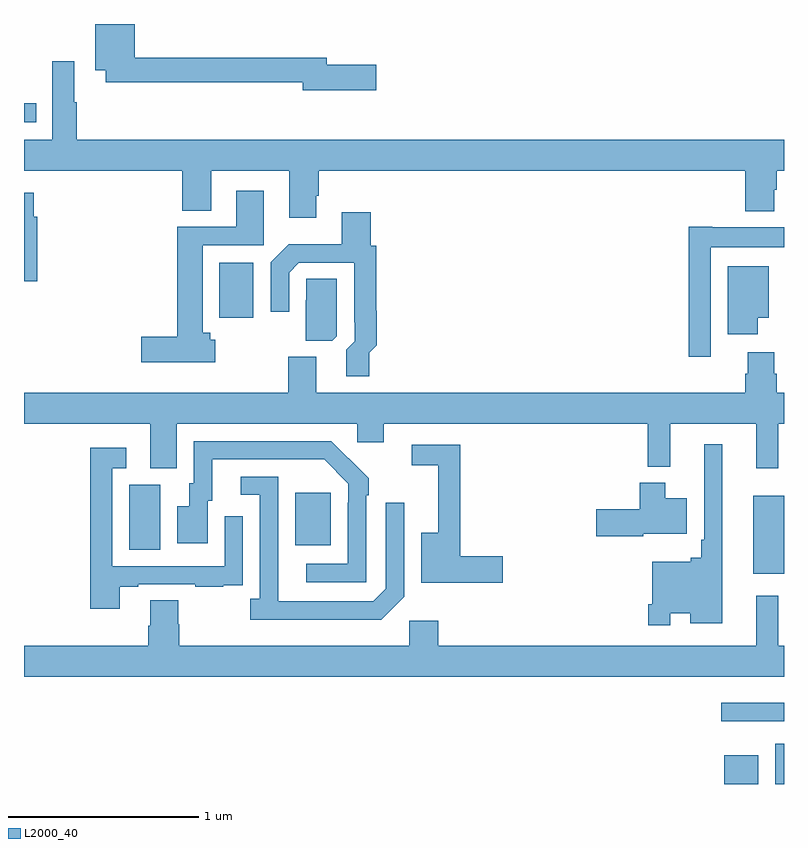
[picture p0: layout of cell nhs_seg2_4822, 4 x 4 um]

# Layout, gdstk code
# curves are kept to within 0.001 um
import gdstk
lib = gdstk.Library(unit=1e-6, precision=1e-09)
def R(c, l, rs):  # rectangles x0, y0, x1, y1
    for r in rs: c.add(gdstk.rectangle(r[:2], r[2:], *l))
def P(c, l, *ps):  # polygons
    for p in ps: c.add(gdstk.Polygon(p, *l))
L2000_40 = (2000, 40)

nhs_seg2_4822 = lib.new_cell('nhs_seg2_4822')
R(nhs_seg2_4822, L2000_40, [(378.686,585.8,378.865,585.952), (378.953,585.8,379,586.012), (378.669,586.131,379,586.228), (378.839,586.907,379,587.317), (375.554,587.032,375.718,587.376), (376.427,587.057,376.615,587.332), (376.028,588.254,376.207,588.544), (375,589.283,375.064,589.384)])
P(nhs_seg2_4822, L2000_40, [(376.855,589.586),(376.594,589.586),(376.594,589.622),(375.583,589.622),(375.583,589.8),(375.374,589.8),(375.374,589.556),(375.431,589.556),(375.431,589.494),(376.466,589.494),(376.466,589.451),(376.855,589.451)],
  [(376.537,588.895),(376.55,588.895),(376.55,589.028),(378.797,589.028),(378.797,588.815),(378.949,588.815),(378.949,588.927),(378.962,588.927),(378.962,589.028),(379,589.028),(379,589.192),(375.278,589.192),(375.278,589.389),(375.265,589.389),(375.265,589.603),(375.149,589.603),(375.149,589.192),(375,589.192),(375,589.028),(375.833,589.028),(375.833,588.817),(375.985,588.817),(375.985,589.028),(376.397,589.028),(376.397,588.78),(376.537,588.78)],
  [(376.006,588.138),(375.981,588.138),(375.981,588.174),(375.94,588.174),(375.94,588.636),(376.261,588.636),(376.261,588.922),(376.118,588.922),(376.118,588.732),(375.806,588.732),(375.806,588.155),(375.618,588.155),(375.618,588.02),(376.006,588.02)],
  [(375.07,588.786),(375.052,588.786),(375.052,588.913),(375,588.913),(375,588.446),(375.07,588.446)],
  [(376.817,588.069),(376.856,588.108),(376.856,588.29),(376.853,588.29),(376.853,588.633),(376.826,588.633),(376.826,588.808),(376.673,588.808),(376.673,588.64),(376.393,588.64),(376.299,588.546),(376.299,588.285),(376.395,588.285),(376.395,588.492),(376.446,588.543),(376.737,588.543),(376.737,588.229),(376.74,588.229),(376.74,588.129),(376.697,588.086),(376.697,587.946),(376.817,587.946)],
  [(378.615,588.626),(379,588.626),(379,588.73),(378.622,588.73),(378.622,588.733),(378.499,588.733),(378.499,588.048),(378.615,588.048)],
  [(378.862,588.254),(378.919,588.254),(378.919,588.526),(378.704,588.526),(378.704,588.168),(378.862,588.168)],
  [(376.647,588.156),(376.647,588.458),(376.485,588.458),(376.485,588.347),(376.484,588.347),(376.484,588.133),(376.623,588.133)],
  [(375.805,587.696),(376.755,587.696),(376.755,587.598),(376.894,587.598),(376.894,587.696),(378.283,587.696),(378.283,587.471),(378.401,587.471),(378.401,587.696),(378.854,587.696),(378.854,587.463),(378.971,587.463),(378.971,587.696),(379,587.696),(379,587.86),(378.962,587.86),(378.962,587.958),(378.949,587.958),(378.949,588.073),(378.809,588.073),(378.809,587.958),(378.797,587.958),(378.797,587.86),(376.537,587.86),(376.537,588.048),(376.39,588.048),(376.39,587.86),(375,587.86),(375,587.696),(375.665,587.696),(375.665,587.461),(375.805,587.461)],
  [(376.8,587.321),(376.815,587.321),(376.815,587.409),(376.618,587.604),(375.894,587.604),(375.894,587.382),(375.869,587.382),(375.869,587.263),(375.806,587.263),(375.806,587.067),(375.967,587.067),(375.967,587.292),(375.991,587.292),(375.991,587.508),(376.579,587.508),(376.707,587.379),(376.707,587.279),(376.704,587.279),(376.704,586.959),(376.485,586.959),(376.485,586.863),(376.8,586.863)],
  [(378.402,586.7),(378.506,586.7),(378.506,586.646),(378.676,586.646),(378.676,587.587),(378.579,587.587),(378.579,587.086),(378.564,587.086),(378.564,586.99),(378.51,586.99),(378.51,586.969),(378.306,586.969),(378.306,586.747),(378.286,586.747),(378.286,586.635),(378.402,586.635)],
  [(377.521,587),(377.297,587),(377.297,587.586),(377.04,587.586),(377.04,587.478),(377.18,587.478),(377.18,587.122),(377.09,587.122),(377.09,586.858),(377.521,586.858)],
  [(375.505,586.839),(375.601,586.839),(375.601,586.851),(375.901,586.851),(375.901,586.839),(376.049,586.839),(376.049,586.845),(376.151,586.845),(376.151,586.954),(376.152,586.954),(376.152,587.209),(376.056,587.209),(376.056,586.947),(375.465,586.947),(375.465,587.463),(375.538,587.463),(375.538,587.569),(375.349,587.569),(375.349,586.722),(375.505,586.722)],
  [(377.001,586.785),(377.001,587.281),(376.905,587.281),(376.905,586.827),(376.839,586.761),(376.339,586.761),(376.338,587.418),(376.14,587.418),(376.14,587.322),(376.242,587.322),(376.242,586.774),(376.191,586.774),(376.191,586.664),(376.88,586.664)],
  [(378.258,587.118),(378.489,587.118),(378.489,587.305),(378.376,587.305),(378.376,587.386),(378.242,587.386),(378.242,587.247),(378.012,587.247),(378.012,587.105),(378.258,587.105)],
  [(379,586.528),(378.971,586.528),(378.971,586.792),(378.854,586.792),(378.854,586.528),(377.18,586.528),(377.18,586.66),(377.028,586.66),(377.028,586.528),(375.818,586.528),(375.818,586.641),(375.813,586.641),(375.813,586.766),(375.665,586.766),(375.665,586.634),(375.653,586.634),(375.653,586.528),(375,586.528),(375,586.364),(379,586.364)])

lib.write_gds('nhs_seg2_4822.gds')
